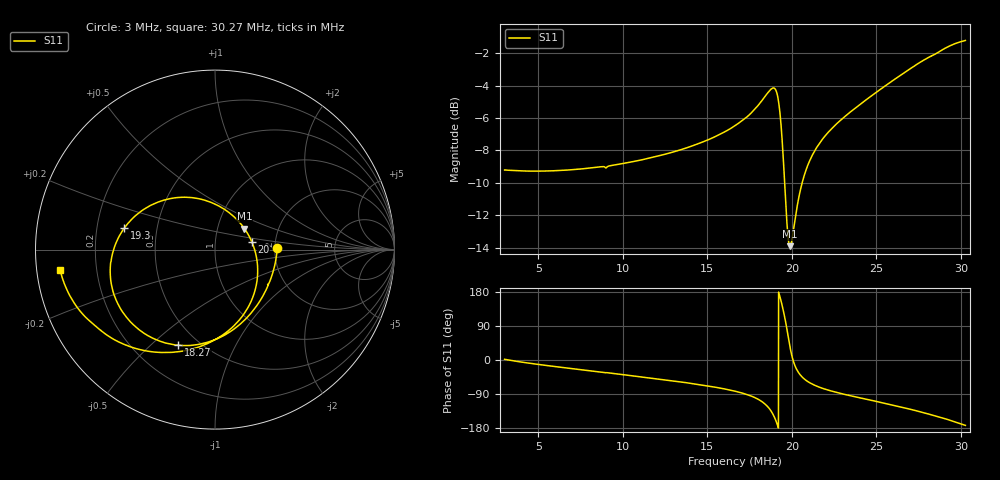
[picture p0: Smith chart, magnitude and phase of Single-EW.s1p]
# HZ S RI R 50
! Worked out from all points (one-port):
!   2727 points, 3 MHz to 30.27 MHz, reference 50 ohm
!   lowest |S11| = -13.9 dB at 19.89 MHz (marker M1), VSWR 1.50, Z = 67.4 + j16.4 ohm
!   |S11| at or under -10 dB: 19.57 MHz to 20.61 MHz (1.035 MHz wide, 5.15 % of centre)
!   S11 on the Smith chart (normalised r, x): 3 MHz: 2.06, +0.05; 18.27 MHz: 0.39, -0.61; 19.3 MHz: 0.32, +0.10; 20 MHz: 1.51, +0.14; 30.27 MHz: 0.07, -0.06
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3000000  0.3463 0.0109
6411364  0.3255 -0.1163
9822728  0.2861 -0.2211
1.323409e7  0.218 -0.3323
1.663545e7  0.0636 -0.4705
1.760584e7  -0.0481 -0.5183
1.82661e7  -0.2049 -0.533
1.859624e7  -0.3404 -0.4965
1.883633e7  -0.4709 -0.4028
1.896638e7  -0.5405 -0.3031
1.909644e7  -0.5825 -0.1566
1.919648e7  -0.5706 -0.0202
1.929652e7  -0.5061 0.1189
1.942657e7  -0.3454 0.2526
1.954662e7  -0.166 0.2917
1.973669e7  0.0614 0.2185
1.988675e7  0.1642 0.1169
1.99968e7  0.2052 0.0431
2.004682e7  0.2169 0.0124
2.0517e7  0.2305 -0.1956
2.114726e7  0.1765 -0.3354
2.208763e7  0.0884 -0.4403
2.345818e7  -0.0385 -0.5219
2.528891e7  -0.2325 -0.5718
2.686954e7  -0.4385 -0.5516
2.77699e7  -0.5675 -0.4982
2.87603e7  -0.7032 -0.3935
3.02709e7  -0.8632 -0.113
